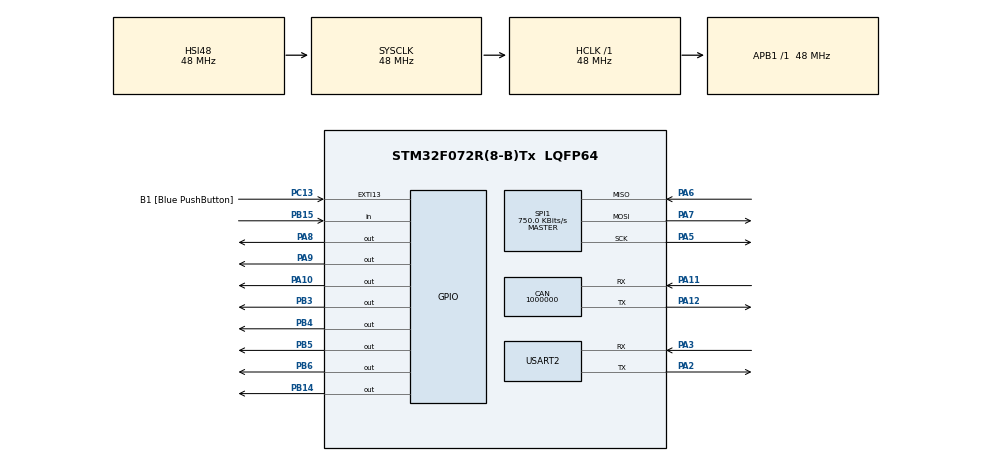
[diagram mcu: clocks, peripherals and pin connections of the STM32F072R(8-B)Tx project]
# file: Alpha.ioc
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CAN.CalculateBaudRate=1000000
CAN.CalculateTimeQuantum=333.3333333333333
Mcu.Family=STM32F0
Mcu.Name=STM32F072R(8-B)Tx
Mcu.Package=LQFP64
PA10.Signal=GPIO_Output
PA11.Mode=CAN_Activate
PA11.Signal=CAN_RX
PA12.Mode=CAN_Activate
PA12.Signal=CAN_TX
PA13.GPIO_Label=TMS
PA13.Mode=Serial_Wire
PA13.Signal=SYS_SWDIO
PA14.GPIO_Label=TCK
PA14.Mode=Serial_Wire
PA14.Signal=SYS_SWCLK
PA2.Mode=Asynchronous
PA2.Signal=USART2_TX
PA3.Mode=Asynchronous
PA3.Signal=USART2_RX
PA5.Mode=Full_Duplex_Master
PA5.Signal=SPI1_SCK
PA6.Mode=Full_Duplex_Master
PA6.Signal=SPI1_MISO
PA7.Mode=Full_Duplex_Master
PA7.Signal=SPI1_MOSI
PA8.Signal=GPIO_Output
PA9.Signal=GPIO_Output
PB14.Signal=GPIO_Output
PB15.Signal=GPIO_Input
PB3.Signal=GPIO_Output
PB4.Signal=GPIO_Output
PB5.Signal=GPIO_Output
PB6.Signal=GPIO_Output
PC13.GPIO_Label=B1 [Blue PushButton]
PC13.GPIO_ModeDefaultEXTI=GPIO_MODE_IT_FALLING
PC13.Signal=GPXTI13
PC14-OSC32_IN.Mode=LSE-External-Oscillator
PC14-OSC32_IN.Signal=RCC_OSC32_IN
PC15-OSC32_OUT.Mode=LSE-External-Oscillator
PC15-OSC32_OUT.Signal=RCC_OSC32_OUT
PF0-OSC_IN.Mode=HSE-External-Clock-Source
PF0-OSC_IN.Signal=RCC_OSC_IN
PF1-OSC_OUT.Signal=RCC_OSC_OUT
ProjectManager.HeapSize=0x200
ProjectManager.StackSize=0x400
ProjectManager.TargetToolchain=STM32CubeIDE
RCC.AHBFreq_Value=48000000
RCC.APB1Freq_Value=48000000
RCC.APB1TimFreq_Value=48000000
RCC.FLatency-AdvancedSettings=FLASH_LATENCY_1
RCC.HCLKFreq_Value=48000000
RCC.PLLDivider=RCC_PREDIV_DIV2
RCC.PLLMUL=RCC_PLL_MUL12
RCC.PREFETCH_ENABLE-AdvancedSettings=1
RCC.SYSCLKFreq_VALUE=48000000
RCC.SYSCLKSource=RCC_SYSCLKSOURCE_HSI48
SPI1.BaudRatePrescaler=SPI_BAUDRATEPRESCALER_64
SPI1.CalculateBaudRate=750.0 KBits/s
SPI1.DataSize=SPI_DATASIZE_8BIT
SPI1.Direction=SPI_DIRECTION_2LINES
SPI1.Mode=SPI_MODE_MASTER
SPI1.NSSPMode=SPI_NSS_PULSE_DISABLE
SPI1.VirtualType=VM_MASTER
USART2.VirtualMode-Asynchronous=VM_ASYNC
board=NUCLEO-F072RB

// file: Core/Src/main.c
/* USER CODE BEGIN Header */
/**
  ******************************************************************************
  * @file           : main.c
  * @brief          : Main program for sending and receiving pins, please put functions and connections in other files
  ******************************************************************************
  * @attention
  * Pinout: https://os.mbed.com/platforms/ST-Nucleo-F072RB/
  *
  *	Buckeye Solar Racing @ tOSU
  *	Telemetry Team
  *
  * EDITORS: Andrew Lin,
  *
  * Copyright (c) 2022 STMicroelectronics.
  * All rights reserved.
  *
  * This software is licensed under terms that can be found in the LICENSE file
  * in the root directory of this software component.
  * If no LICENSE file comes with this software, it is provided AS-IS.
  *
  ******************************************************************************
  */
/* USER CODE END Header */
#include "main.h"

CAN_HandleTypeDef hcan;

SPI_HandleTypeDef hspi1;

UART_HandleTypeDef huart2;

/* USER CODE BEGIN PV */
// CAN
CAN_HandleTypeDef hcan;
//static CanTxMsgTypeDef        TxMessage; // CAN_TX is pin 12 (Transmit)
//static CanRxMsgTypeDef        RxMessage; // CAN_RX is pin 11 (Receive)
//
//int alarmTimeout = 0;
//int micTimeout = 0;
//int alarmType = 0;
//bool testFlag = false;
// 74HC595 Instructions
const uint8_t EEPROM_Clear = 0b00000001;
const uint8_t EEPROM_Func = 0b00101100;
const uint8_t EEPROM_Entry = 0b00000111;
const uint8_t EEPROM_Display = 0b00001000;
const uint8_t output_one = 0b00010011;
const uint8_t output_two = 0b00100011;
const uint8_t output_three = 0b00110011;
const uint8_t output_four = 0b01000011;
const uint8_t output_five = 0b01010011;
const uint8_t output_six = 0b01100011;
const uint8_t output_seven = 0b01110011;
const uint8_t output_eight = 0b10000011;
const uint8_t output_nine = 0b10010011;

/* USER CODE END PV */

void SystemClock_Config(void);
static void MX_GPIO_Init(void);
static void MX_CAN_Init(void);
static void MX_SPI1_Init(void);
static void MX_USART2_UART_Init(void);

int main(void)
{

  /* MCU Configuration--------------------------------------------------------*/

  /* Reset of all peripherals, Initializes the Flash interface and the Systick. */
  HAL_Init();

  /* Configure the system clock */
  SystemClock_Config();

  /* Initialize all configured peripherals */
  MX_GPIO_Init();
  MX_CAN_Init();
  MX_SPI1_Init();
  MX_USART2_UART_Init();
  /* USER CODE BEGIN 2 */
  // INITIALIZE LCD
void lcd_init (void){
	 HAL_GPIO_WritePin(GPIOB, GPIO_PIN_3, GPIO_PIN_RESET); // RS
	 HAL_Delay(5);
	 HAL_GPIO_WritePin(GPIOB, GPIO_PIN_5, GPIO_PIN_RESET); // RW
	 HAL_Delay(5);
	//8 bit
	 HAL_GPIO_WritePin(GPIOB, GPIO_PIN_4, GPIO_PIN_SET); // ENABLE ON
	 HAL_GPIO_WritePin(GPIOB, GPIO_PIN_10, GPIO_PIN_SET); // Latch ON
	 HAL_Delay(5);
	 HAL_SPI_Transmit(&hspi1, EEPROM_Func, 1, 20);
	 HAL_GPIO_WritePin(GPIOB, GPIO_PIN_10, GPIO_PIN_RESET); // Latch OFF
	 HAL_Delay(5);
	 HAL_GPIO_WritePin(GPIOB, GPIO_PIN_10, GPIO_PIN_SET); // Latch ON
	 HAL_Delay(5);
	 HAL_SPI_Transmit(&hspi1, EEPROM_Entry, 1, 20);
	 HAL_GPIO_WritePin(GPIOB, GPIO_PIN_10, GPIO_PIN_RESET); // Latch OFF
	 HAL_Delay(5);
	 HAL_GPIO_WritePin(GPIOB, GPIO_PIN_10, GPIO_PIN_SET); // Latch ON
	 HAL_Delay(5);
	 HAL_SPI_Transmit(&hspi1, EEPROM_Display, 1, 20);
	 HAL_GPIO_WritePin(GPIOB, GPIO_PIN_10, GPIO_PIN_RESET); // Latch OFF
	 HAL_Delay(5);
	 HAL_GPIO_WritePin(GPIOB, GPIO_PIN_4, GPIO_PIN_RESET); // ENABLE OFF
	 HAL_Delay(5);

}
  /* USER CODE END 2 */

  /* Infinite loop */
  /* USER CODE BEGIN WHILE */
  while (1)
  {
	  //Test LCD code below
//	  //LED ON
//	  HAL_GPIO_WritePin(GPIOA, GPIO_PIN_5, GPIO_PIN_SET);
//	  HAL_Delay(1000);
//	  //LED OFF
//	  HAL_GPIO_WritePin(GPIOA, GPIO_PIN_5, GPIO_PIN_RESET);
//	  HAL_Delay(500);
	  //Test CAN code below

//Test LCD Display Code (SPI)
	  /* PA10 (D2) - LCD Contrast adjust
	   * PB3 (D3) - register select
	   * PB5 (D4) - read/write signal
	   * PB4 (D5) - Enable signal
	   * PB10 (D11) - Latch MOSI
	   * PA8 (D12) - Data output MISO
	   * PA9 (D13) - clock
	   */
// Output 6969

	  lcd_init ();
	  HAL_GPIO_WritePin(GPIOB, GPIO_PIN_3, GPIO_PIN_SET); // RS
	  HAL_Delay(5);
	  HAL_GPIO_WritePin(GPIOB, GPIO_PIN_5, GPIO_PIN_RESET); // RW
	  HAL_Delay(5);

	  HAL_GPIO_WritePin(GPIOB, GPIO_PIN_4, GPIO_PIN_SET); // ENABLE ON
	  HAL_Delay(5);
	  HAL_GPIO_WritePin(GPIOB, GPIO_PIN_10, GPIO_PIN_SET); // Latch ON
	  HAL_Delay(5);
	  HAL_SPI_Transmit(&hspi1, output_six, 1, 20);
	  HAL_GPIO_WritePin(GPIOB, GPIO_PIN_10, GPIO_PIN_RESET); // Latch OFF
	  HAL_Delay(5);
	  HAL_GPIO_WritePin(GPIOB, GPIO_PIN_4, GPIO_PIN_RESET); // ENABLE OFF
	  HAL_Delay(5);
	  HAL_GPIO_WritePin(GPIOB, GPIO_PIN_4, GPIO_PIN_SET); // ENABLE ON
	  HAL_Delay(5);
	  HAL_GPIO_WritePin(GPIOB, GPIO_PIN_10, GPIO_PIN_SET); // Latch ON
	  HAL_Delay(5);
	  HAL_SPI_Transmit(&hspi1, output_nine, 1, 20);
	  HAL_GPIO_WritePin(GPIOB, GPIO_PIN_10, GPIO_PIN_RESET); // Latch OFF
	  HAL_Delay(5);
	  HAL_GPIO_WritePin(GPIOB, GPIO_PIN_4, GPIO_PIN_RESET); // ENABLE OFF
	  HAL_Delay(5);

	  HAL_GPIO_WritePin(GPIOB, GPIO_PIN_3, GPIO_PIN_RESET); // RS
	  HAL_GPIO_WritePin(GPIOB, GPIO_PIN_5, GPIO_PIN_RESET); // RW
	  HAL_Delay(3000);
	  HAL_GPIO_WritePin(GPIOB, GPIO_PIN_4, GPIO_PIN_SET); // ENABLE ON
	  HAL_Delay(5);
	  HAL_SPI_Transmit(&hspi1, EEPROM_Clear, 1, 20);
	  HAL_GPIO_WritePin(GPIOB, GPIO_PIN_4, GPIO_PIN_RESET); // ENABLE OFF
	  HAL_Delay(5);

    /* USER CODE END WHILE */

  }
}

void SystemClock_Config(void)
{
  RCC_OscInitTypeDef RCC_OscInitStruct = {0};
  RCC_ClkInitTypeDef RCC_ClkInitStruct = {0};
  RCC_PeriphCLKInitTypeDef PeriphClkInit = {0};

  /** Initializes the RCC Oscillators according to the specified parameters
  * in the RCC_OscInitTypeDef structure.
  */
  RCC_OscInitStruct.OscillatorType = RCC_OSCILLATORTYPE_HSI48;
  RCC_OscInitStruct.HSI48State = RCC_HSI48_ON;
  RCC_OscInitStruct.PLL.PLLState = RCC_PLL_NONE;
  if (HAL_RCC_OscConfig(&RCC_OscInitStruct) != HAL_OK)
  {
    Error_Handler();
  }

  /** Initializes the CPU, AHB and APB buses clocks
  */
  RCC_ClkInitStruct.ClockType = RCC_CLOCKTYPE_HCLK|RCC_CLOCKTYPE_SYSCLK
                              |RCC_CLOCKTYPE_PCLK1;
  RCC_ClkInitStruct.SYSCLKSource = RCC_SYSCLKSOURCE_HSI48;
  RCC_ClkInitStruct.AHBCLKDivider = RCC_SYSCLK_DIV1;
  RCC_ClkInitStruct.APB1CLKDivider = RCC_HCLK_DIV1;

  if (HAL_RCC_ClockConfig(&RCC_ClkInitStruct, FLASH_LATENCY_1) != HAL_OK)
  {
    Error_Handler();
  }
  PeriphClkInit.PeriphClockSelection = RCC_PERIPHCLK_USART2;
  PeriphClkInit.Usart2ClockSelection = RCC_USART2CLKSOURCE_PCLK1;
  if (HAL_RCCEx_PeriphCLKConfig(&PeriphClkInit) != HAL_OK)
  {
    Error_Handler();
  }
}

static void MX_CAN_Init(void)
{

  hcan.Instance = CAN;
  hcan.Init.Prescaler = 16;
  hcan.Init.Mode = CAN_MODE_NORMAL;
  hcan.Init.SyncJumpWidth = CAN_SJW_1TQ;
  hcan.Init.TimeSeg1 = CAN_BS1_1TQ;
  hcan.Init.TimeSeg2 = CAN_BS2_1TQ;
  hcan.Init.TimeTriggeredMode = DISABLE;
  hcan.Init.AutoBusOff = DISABLE;
  hcan.Init.AutoWakeUp = DISABLE;
  hcan.Init.AutoRetransmission = DISABLE;
  hcan.Init.ReceiveFifoLocked = DISABLE;
  hcan.Init.TransmitFifoPriority = DISABLE;
  if (HAL_CAN_Init(&hcan) != HAL_OK)
  {
    Error_Handler();
  }

}

static void MX_SPI1_Init(void)
{

  /* SPI1 parameter configuration*/
  hspi1.Instance = SPI1;
  hspi1.Init.Mode = SPI_MODE_MASTER;
  hspi1.Init.Direction = SPI_DIRECTION_2LINES;
  hspi1.Init.DataSize = SPI_DATASIZE_8BIT;
  hspi1.Init.CLKPolarity = SPI_POLARITY_LOW;
  hspi1.Init.CLKPhase = SPI_PHASE_1EDGE;
  hspi1.Init.NSS = SPI_NSS_SOFT;
  hspi1.Init.BaudRatePrescaler = SPI_BAUDRATEPRESCALER_64;
  hspi1.Init.FirstBit = SPI_FIRSTBIT_MSB;
  hspi1.Init.TIMode = SPI_TIMODE_DISABLE;
  hspi1.Init.CRCCalculation = SPI_CRCCALCULATION_DISABLE;
  hspi1.Init.CRCPolynomial = 7;
  hspi1.Init.CRCLength = SPI_CRC_LENGTH_DATASIZE;
  hspi1.Init.NSSPMode = SPI_NSS_PULSE_DISABLE;
  if (HAL_SPI_Init(&hspi1) != HAL_OK)
  {
    Error_Handler();
  }

}

static void MX_USART2_UART_Init(void)
{

  huart2.Instance = USART2;
  huart2.Init.BaudRate = 38400;
  huart2.Init.WordLength = UART_WORDLENGTH_8B;
  huart2.Init.StopBits = UART_STOPBITS_1;
  huart2.Init.Parity = UART_PARITY_NONE;
  huart2.Init.Mode = UART_MODE_TX_RX;
  huart2.Init.HwFlowCtl = UART_HWCONTROL_NONE;
  huart2.Init.OverSampling = UART_OVERSAMPLING_16;
  huart2.Init.OneBitSampling = UART_ONE_BIT_SAMPLE_DISABLE;
  huart2.AdvancedInit.AdvFeatureInit = UART_ADVFEATURE_NO_INIT;
  if (HAL_UART_Init(&huart2) != HAL_OK)
  {
    Error_Handler();
  }

}

static void MX_GPIO_Init(void)
{
  GPIO_InitTypeDef GPIO_InitStruct = {0};

  /* GPIO Ports Clock Enable */
  __HAL_RCC_GPIOC_CLK_ENABLE();
  __HAL_RCC_GPIOF_CLK_ENABLE();
  __HAL_RCC_GPIOA_CLK_ENABLE();
  __HAL_RCC_GPIOB_CLK_ENABLE();

  /*Configure GPIO pin Output Level */
  HAL_GPIO_WritePin(GPIOB, GPIO_PIN_14|GPIO_PIN_3|GPIO_PIN_4|GPIO_PIN_5
                          |GPIO_PIN_6, GPIO_PIN_RESET);

  /*Configure GPIO pin Output Level */
  HAL_GPIO_WritePin(GPIOA, GPIO_PIN_8|GPIO_PIN_9|GPIO_PIN_10, GPIO_PIN_RESET);

  /*Configure GPIO pin : B1_Pin */
  GPIO_InitStruct.Pin = B1_Pin;
  GPIO_InitStruct.Mode = GPIO_MODE_IT_FALLING;
  GPIO_InitStruct.Pull = GPIO_NOPULL;
  HAL_GPIO_Init(B1_GPIO_Port, &GPIO_InitStruct);

  /*Configure GPIO pins : PB14 PB3 PB4 PB5
                           PB6 */
  GPIO_InitStruct.Pin = GPIO_PIN_14|GPIO_PIN_3|GPIO_PIN_4|GPIO_PIN_5
                          |GPIO_PIN_6;
  GPIO_InitStruct.Mode = GPIO_MODE_OUTPUT_PP;
  GPIO_InitStruct.Pull = GPIO_NOPULL;
  GPIO_InitStruct.Speed = GPIO_SPEED_FREQ_LOW;
  HAL_GPIO_Init(GPIOB, &GPIO_InitStruct);

  /*Configure GPIO pin : PB15 */
  GPIO_InitStruct.Pin = GPIO_PIN_15;
  GPIO_InitStruct.Mode = GPIO_MODE_INPUT;
  GPIO_InitStruct.Pull = GPIO_NOPULL;
  HAL_GPIO_Init(GPIOB, &GPIO_InitStruct);

  /*Configure GPIO pins : PA8 PA9 PA10 */
  GPIO_InitStruct.Pin = GPIO_PIN_8|GPIO_PIN_9|GPIO_PIN_10;
  GPIO_InitStruct.Mode = GPIO_MODE_OUTPUT_PP;
  GPIO_InitStruct.Pull = GPIO_NOPULL;
  GPIO_InitStruct.Speed = GPIO_SPEED_FREQ_LOW;
  HAL_GPIO_Init(GPIOA, &GPIO_InitStruct);

}

void Error_Handler(void)
{
  __disable_irq();
  while (1)
  {
  }
}
